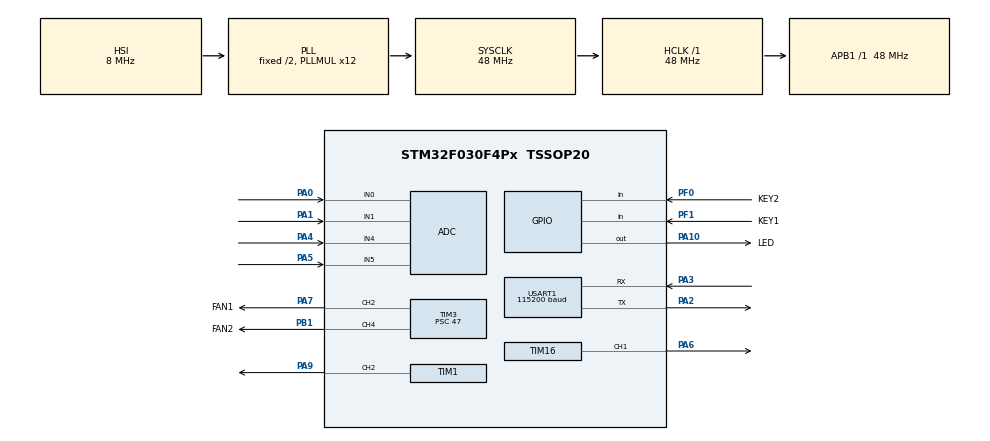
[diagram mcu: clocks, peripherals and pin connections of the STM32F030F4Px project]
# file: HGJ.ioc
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ADC.ContinuousConvMode=ENABLE
ADC.DMAContinuousRequests=ENABLE
ADC.SamplingTime=ADC_SAMPLETIME_55CYCLES_5
Dma.ADC.1.Direction=DMA_PERIPH_TO_MEMORY
Dma.ADC.1.Instance=DMA1_Channel1
Dma.ADC.1.MemDataAlignment=DMA_MDATAALIGN_HALFWORD
Dma.ADC.1.MemInc=DMA_MINC_ENABLE
Dma.ADC.1.Mode=DMA_CIRCULAR
Dma.ADC.1.PeriphDataAlignment=DMA_PDATAALIGN_HALFWORD
Dma.ADC.1.PeriphInc=DMA_PINC_DISABLE
Dma.ADC.1.Priority=DMA_PRIORITY_LOW
Dma.Request0=USART1_RX
Dma.Request1=ADC
Dma.USART1_RX.0.Direction=DMA_PERIPH_TO_MEMORY
Dma.USART1_RX.0.Instance=DMA1_Channel3
Dma.USART1_RX.0.MemDataAlignment=DMA_MDATAALIGN_BYTE
Dma.USART1_RX.0.MemInc=DMA_MINC_ENABLE
Dma.USART1_RX.0.Mode=DMA_NORMAL
Dma.USART1_RX.0.PeriphDataAlignment=DMA_PDATAALIGN_BYTE
Dma.USART1_RX.0.PeriphInc=DMA_PINC_DISABLE
Dma.USART1_RX.0.Priority=DMA_PRIORITY_LOW
Mcu.Family=STM32F0
Mcu.Name=STM32F030F4Px
Mcu.Package=TSSOP20
NVIC.DMA1_Channel1_IRQn=true\:0\:0\:false\:false\:true\:false\:true\:true
NVIC.DMA1_Channel2_3_IRQn=true\:0\:0\:false\:false\:true\:false\:true\:true
NVIC.USART1_IRQn=true\:0\:0\:false\:false\:true\:true\:true\:true
PA0.Mode=IN0
PA0.Signal=ADC_IN0
PA1.Mode=IN1
PA1.Signal=ADC_IN1
PA10.GPIO_Label=LED
PA10.Signal=GPIO_Output
PA13.Mode=Serial_Wire
PA13.Signal=SYS_SWDIO
PA14.Mode=Serial_Wire
PA14.Signal=SYS_SWCLK
PA2.Mode=Asynchronous
PA2.Signal=USART1_TX
PA3.Mode=Asynchronous
PA3.Signal=USART1_RX
PA4.Mode=IN4
PA4.Signal=ADC_IN4
PA5.Mode=IN5
PA5.Signal=ADC_IN5
PA6.Signal=S_TIM16_CH1
PA7.GPIO_Label=FAN1
PA7.Signal=S_TIM3_CH2
PA9.Signal=S_TIM1_CH2
PB1.GPIO_Label=FAN2
PB1.Signal=S_TIM3_CH4
PF0-OSC_IN.GPIO_Label=KEY2
PF0-OSC_IN.GPIO_PuPd=GPIO_PULLUP
PF0-OSC_IN.Signal=GPIO_Input
PF1-OSC_OUT.GPIO_Label=KEY1
PF1-OSC_OUT.GPIO_PuPd=GPIO_PULLUP
PF1-OSC_OUT.Signal=GPIO_Input
ProjectManager.HeapSize=0x200
ProjectManager.StackSize=0x400
ProjectManager.TargetToolchain=MDK-ARM V5
RCC.AHBFreq_Value=48000000
RCC.APB1Freq_Value=48000000
RCC.APB1TimFreq_Value=48000000
RCC.HCLKFreq_Value=48000000
RCC.PLLMUL=RCC_PLL_MUL12
RCC.SYSCLKFreq_VALUE=48000000
RCC.SYSCLKSource=RCC_SYSCLKSOURCE_PLLCLK
SH.S_TIM16_CH1.0=TIM16_CH1,PWM Generation1 CH1
SH.S_TIM1_CH2.0=TIM1_CH2,PWM Generation2 CH2
SH.S_TIM3_CH2.0=TIM3_CH2,PWM Generation2 CH2
SH.S_TIM3_CH4.0=TIM3_CH4,PWM Generation4 CH4
TIM1.Channel-PWM\ Generation2\ CH2=TIM_CHANNEL_2
TIM1.Period=99
TIM1.Prescaler=47
TIM16.AutoReloadPreload=TIM_AUTORELOAD_PRELOAD_ENABLE
TIM16.Channel=TIM_CHANNEL_1
TIM16.Period=99
TIM16.Prescaler=47
TIM3.Channel-PWM\ Generation2\ CH2=TIM_CHANNEL_2
TIM3.Channel-PWM\ Generation4\ CH4=TIM_CHANNEL_4
TIM3.Period=99
TIM3.Prescaler=47
USART1.BaudRate=115200
USART1.VirtualMode-Asynchronous=VM_ASYNC
VP_TIM16_VS_ClockSourceINT.Mode=Enable_Timer
board=custom

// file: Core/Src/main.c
/* USER CODE BEGIN Header */
/**
  ******************************************************************************
  * @file           : main.c
  * @brief          : Main program body
  ******************************************************************************
  * @attention
  *
  * Copyright (c) 2025 STMicroelectronics.
  * All rights reserved.
  *
  * This software is licensed under terms that can be found in the LICENSE file
  * in the root directory of this software component.
  * If no LICENSE file comes with this software, it is provided AS-IS.
  *
  ******************************************************************************
  */
/* USER CODE END Header */
#include "main.h"
#include "adc.h"
#include "dma.h"
#include "tim.h"
#include "usart.h"
#include "gpio.h"

/* USER CODE BEGIN Includes */
#include "control.h"
/* USER CODE END Includes */

/* USER CODE BEGIN PD */
#define FW_VERSION  "V2.0"
/* USER CODE END PD */

/* USER CODE BEGIN PV */
/* Firmware version string, kept in a dedicated flash section (".fw_version",
   KEEP'd in the linker script) so --gc-sections can't strip it.
   Read it from a built image with:  strings HGJ.bin | findstr DRIER */
__attribute__((used, section(".fw_version")))
const char g_fw_version[] = "DRIER FW " FW_VERSION " " __DATE__;
/* USER CODE END PV */

void SystemClock_Config(void);

int main(void)
{

  /* MCU Configuration--------------------------------------------------------*/

  /* Reset of all peripherals, Initializes the Flash interface and the Systick. */
  HAL_Init();

  /* Configure the system clock */
  SystemClock_Config();

  /* Initialize all configured peripherals */
  MX_GPIO_Init();
  MX_DMA_Init();
  MX_ADC_Init();
  MX_TIM3_Init();
  MX_USART1_UART_Init();
  MX_TIM16_Init();
  MX_TIM1_Init();
  /* USER CODE BEGIN 2 */
  /* Fans on TIM3 CH2/CH4 (PA7/PB1) -- start stopped (100 = off). */
  __HAL_TIM_SetCompare(&htim3, TIM_CHANNEL_2, 100);
  __HAL_TIM_SetCompare(&htim3, TIM_CHANNEL_4, 100);
  HAL_TIM_PWM_Start(&htim3, TIM_CHANNEL_2);
  HAL_TIM_PWM_Start(&htim3, TIM_CHANNEL_4);

  /* Heater 1 on TIM16 CH1 (PA6) -- start OFF (99 = off). */
  HAL_TIM_PWM_Start(&htim16, TIM_CHANNEL_1);
  __HAL_TIM_SetCompare(&htim16, TIM_CHANNEL_1, 99);

  /* Heater 2 on TIM1 CH2 (PA9) -- start OFF (99 = off). */
  HAL_TIM_PWM_Start(&htim1, TIM_CHANNEL_2);
  __HAL_TIM_SetCompare(&htim1, TIM_CHANNEL_2, 99);

  /* UART RX from the screen (idle-DMA) + ADC scan (DMA). */
  HAL_UARTEx_ReceiveToIdle_DMA(&huart1, st_Uart1.a_Rx_Buf, sizeof(st_Uart1.a_Rx_Buf));
  HAL_ADC_Start_DMA(&hadc, (uint32_t*)&AD_Buf, AD_Buf_LEN);

  /* Start watchdog + control loop state. */
  Control_Init();
  /* USER CODE END 2 */

  /* Infinite loop */
  /* USER CODE BEGIN WHILE */
  while (1)
  {
    GET_ADC();          /* read NTC resistances + supply, fill TX buffer        */
    DWIN_Send();        /* send resistances to the screen (it displays temp)    */
    HAL_Delay(100);     /* control period ~100 ms                               */
    Control_Update();   /* safety interlocks + two-zone PI heat/fan + watchdog  */

    /* USER CODE END WHILE */

  }
}

void SystemClock_Config(void)
{
  RCC_OscInitTypeDef RCC_OscInitStruct = {0};
  RCC_ClkInitTypeDef RCC_ClkInitStruct = {0};
  RCC_PeriphCLKInitTypeDef PeriphClkInit = {0};

  /** Initializes the RCC Oscillators according to the specified parameters
  * in the RCC_OscInitTypeDef structure.
  */
  RCC_OscInitStruct.OscillatorType = RCC_OSCILLATORTYPE_HSI|RCC_OSCILLATORTYPE_HSI14;
  RCC_OscInitStruct.HSIState = RCC_HSI_ON;
  RCC_OscInitStruct.HSI14State = RCC_HSI14_ON;
  RCC_OscInitStruct.HSICalibrationValue = RCC_HSICALIBRATION_DEFAULT;
  RCC_OscInitStruct.HSI14CalibrationValue = 16;
  RCC_OscInitStruct.PLL.PLLState = RCC_PLL_ON;
  RCC_OscInitStruct.PLL.PLLSource = RCC_PLLSOURCE_HSI;
  RCC_OscInitStruct.PLL.PLLMUL = RCC_PLL_MUL12;
  RCC_OscInitStruct.PLL.PREDIV = RCC_PREDIV_DIV1;
  if (HAL_RCC_OscConfig(&RCC_OscInitStruct) != HAL_OK)
  {
    Error_Handler();
  }

  /** Initializes the CPU, AHB and APB buses clocks
  */
  RCC_ClkInitStruct.ClockType = RCC_CLOCKTYPE_HCLK|RCC_CLOCKTYPE_SYSCLK
                              |RCC_CLOCKTYPE_PCLK1;
  RCC_ClkInitStruct.SYSCLKSource = RCC_SYSCLKSOURCE_PLLCLK;
  RCC_ClkInitStruct.AHBCLKDivider = RCC_SYSCLK_DIV1;
  RCC_ClkInitStruct.APB1CLKDivider = RCC_HCLK_DIV1;

  if (HAL_RCC_ClockConfig(&RCC_ClkInitStruct, FLASH_LATENCY_1) != HAL_OK)
  {
    Error_Handler();
  }
  PeriphClkInit.PeriphClockSelection = RCC_PERIPHCLK_USART1;
  PeriphClkInit.Usart1ClockSelection = RCC_USART1CLKSOURCE_PCLK1;
  if (HAL_RCCEx_PeriphCLKConfig(&PeriphClkInit) != HAL_OK)
  {
    Error_Handler();
  }
}

void Error_Handler(void)
{
  __disable_irq();
  while (1)
  {
  }
}
